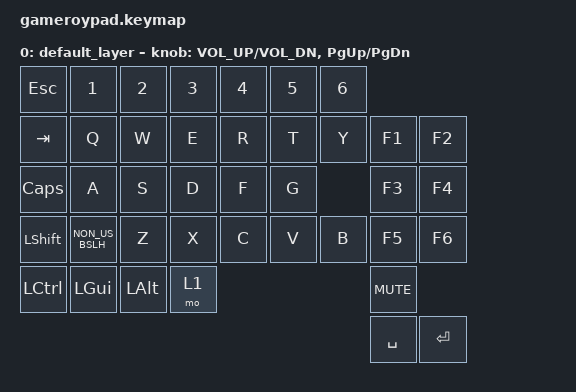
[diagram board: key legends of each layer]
#include <behaviors.dtsi>
#include <dt-bindings/zmk/keys.h>
#include <dt-bindings/zmk/bt.h>
#include <dt-bindings/zmk/outputs.h>
/ {
    keymap {
        compatible = "zmk,keymap";

        default_layer {
// --------------------------------------------------------------------------------------------------------------------------------------------------------------------
// |   ESC   |    1    |    2    |    3    |    4    |    5    |    6    |                                                          |    7    |    8    |    9    |    0    |    -    |    =    |   BSPC  |
// |   TAB   |    Q    |    W    |    E    |    R    |    T    |    Y    |    |   F1    |   F2    |         |   F7    |   F8   |    |    U    |    I    |    O    |    P    |    [    |    ]    |    #    |
// |   CAPS  |    A    |    S    |    D    |    F    |    G    |              |   F3    |   F4    |         |   F9    |   F10  |              |    H    |    J    |    K    |    L    |   ;     |    '    |
// |  SHIFT  |    \    |    Z    |    X    |    C    |    V    |    B    |    |   F5    |   F6    |         |   F11   |   F12  |    |    N    |    M    |    ,    |    .    |    /    |   HOME  |   END   |
// |  CTRL   | GUI  |  ALT  |  Fn  |                                          |   MUTE  |                             |  MUTE  |                                            GUI  |  ALT  |  Fn  |   MUTE  | 
// |                                                                |  SPACE  |  ENTER  |                             |  ENTER  |  SPACE  |
// | Left enconder vol up down                                                                              Right enconder page up down  
            bindings = <
	&kp ESC    &kp N1          &kp N2   &kp N3    &kp N4    &kp N5    &kp N6
    &kp TAB    &kp Q           &kp W    &kp E     &kp R     &kp T     &kp Y     &kp F1     &kp F2
    &kp CAPS   &kp A           &kp S    &kp D     &kp F     &kp G               &kp F3     &kp F4
    &kp LSHIFT &kp NON_US_BSLH &kp Z    &kp X     &kp C     &kp V     &kp B     &kp F5     &kp F6
    &kp LCTRL  &kp LGUI        &kp LALT &mo 1                                &kp C_MUTE
	                                                                            &kp SPACE &kp RET
            >;

            sensor-bindings = <&inc_dec_kp C_VOL_UP C_VOL_DN &inc_dec_kp PG_UP PG_DN>;
        };
    };
};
